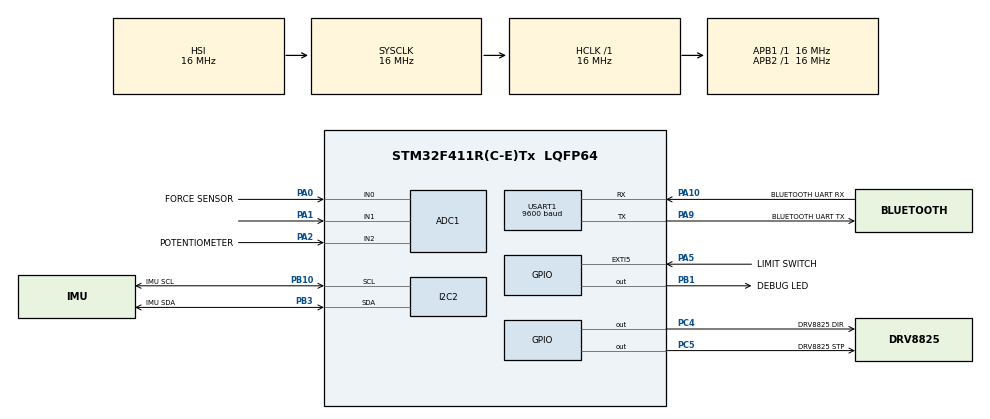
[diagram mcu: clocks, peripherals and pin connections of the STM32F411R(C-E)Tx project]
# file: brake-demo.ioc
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ADC1.Channel-0\#ChannelRegularConversion=ADC_CHANNEL_0
ADC1.Channel-1\#ChannelRegularConversion=ADC_CHANNEL_1
ADC1.Channel-4\#ChannelRegularConversion=ADC_CHANNEL_2
ADC1.ContinuousConvMode=DISABLE
ADC1.DMAContinuousRequests=ENABLE
ADC1.DiscontinuousConvMode=DISABLE
ADC1.ExternalTrigConv=ADC_EXTERNALTRIGCONV_T3_TRGO
ADC1.InjNumberOfConversion=0
ADC1.NbrOfConversion=3
ADC1.NbrOfConversionFlag=1
ADC1.Rank-0\#ChannelRegularConversion=1
ADC1.Rank-1\#ChannelRegularConversion=2
ADC1.Rank-4\#ChannelRegularConversion=3
ADC1.SamplingTime-0\#ChannelRegularConversion=ADC_SAMPLETIME_3CYCLES
ADC1.SamplingTime-1\#ChannelRegularConversion=ADC_SAMPLETIME_3CYCLES
ADC1.SamplingTime-4\#ChannelRegularConversion=ADC_SAMPLETIME_3CYCLES
ADC1.ScanConvMode=ENABLE
ADC1.master=1
Dma.ADC1.0.Direction=DMA_PERIPH_TO_MEMORY
Dma.ADC1.0.FIFOMode=DMA_FIFOMODE_DISABLE
Dma.ADC1.0.Instance=DMA2_Stream0
Dma.ADC1.0.MemDataAlignment=DMA_MDATAALIGN_HALFWORD
Dma.ADC1.0.MemInc=DMA_MINC_ENABLE
Dma.ADC1.0.Mode=DMA_CIRCULAR
Dma.ADC1.0.PeriphDataAlignment=DMA_PDATAALIGN_HALFWORD
Dma.ADC1.0.PeriphInc=DMA_PINC_DISABLE
Dma.ADC1.0.Priority=DMA_PRIORITY_LOW
Dma.Request0=ADC1
Mcu.Family=STM32F4
Mcu.Name=STM32F411R(C-E)Tx
Mcu.Package=LQFP64
Mcu.UserConstants=SLOW_PERIOD,2000;FAST_PERIOD,20
NVIC.DMA2_Stream0_IRQn=true\:0\:0\:false\:false\:true\:false\:true\:true
NVIC.EXTI9_5_IRQn=true\:0\:0\:false\:false\:true\:true\:true\:true
NVIC.PriorityGroup=NVIC_PRIORITYGROUP_4
NVIC.TIM1_TRG_COM_TIM11_IRQn=true\:0\:0\:false\:false\:true\:true\:true\:true
NVIC.TIM1_UP_TIM10_IRQn=true\:0\:0\:false\:false\:true\:true\:true\:true
PA0-WKUP.GPIO_Label=FORCE SENSOR
PA0-WKUP.Signal=ADCx_IN0
PA1.Signal=ADCx_IN1
PA10.GPIO_Label=BLUETOOTH UART RX
PA10.Mode=Asynchronous
PA10.Signal=USART1_RX
PA2.GPIO_Label=POTENTIOMETER
PA2.Signal=ADCx_IN2
PA5.GPIO_Label=LIMIT SWITCH
PA5.Signal=GPXTI5
PA9.GPIO_Label=BLUETOOTH UART TX
PA9.Mode=Asynchronous
PA9.Signal=USART1_TX
PB1.GPIO_Label=DEBUG LED
PB1.Signal=GPIO_Output
PB10.GPIO_Label=IMU SCL
PB10.Mode=I2C
PB10.Signal=I2C2_SCL
PB3.GPIO_Label=IMU SDA
PB3.Mode=I2C
PB3.Signal=I2C2_SDA
PC4.GPIO_Label=DRV8825 DIR
PC4.Signal=GPIO_Output
PC5.GPIO_Label=DRV8825 STP
PC5.Signal=GPIO_Output
ProjectManager.HeapSize=0x200
ProjectManager.StackSize=0x400
ProjectManager.TargetToolchain=STM32CubeIDE
RCC.AHBFreq_Value=16000000
RCC.APB1Freq_Value=16000000
RCC.APB2Freq_Value=16000000
RCC.CortexFreq_Value=16000000
RCC.HSE_VALUE=25000000
RCC.HSI_VALUE=16000000
RCC.LSE_VALUE=32768
RCC.SYSCLKFreq_VALUE=16000000
RCC.VCOOutputFreq_Value=192000000
SH.ADCx_IN0.0=ADC1_IN0,IN0
SH.ADCx_IN1.0=ADC1_IN1,IN1
SH.ADCx_IN2.0=ADC1_IN2,IN2
TIM10.Period=SLOW_PERIOD
TIM10.Prescaler=15
TIM11.Period=FAST_PERIOD
TIM11.Prescaler=15
TIM3.Period=16000-1
TIM3.TIM_MasterOutputTrigger=TIM_TRGO_UPDATE
USART1.BaudRate=9600
USART1.VirtualMode=VM_ASYNC
VP_TIM10_VS_ClockSourceINT.Mode=Enable_Timer
VP_TIM11_VS_ClockSourceINT.Mode=Enable_Timer
VP_TIM3_VS_ClockSourceINT.Mode=Internal
board=custom

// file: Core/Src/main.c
/* USER CODE BEGIN Header */
/**
  ******************************************************************************
  * @file           : main.c
  * @brief          : Main program body
  ******************************************************************************
  * @attention
  *
  * Copyright (c) 2022 STMicroelectronics.
  * All rights reserved.
  *
  * This software is licensed under terms that can be found in the LICENSE file
  * in the root directory of this software component.
  * If no LICENSE file comes with this software, it is provided AS-IS.
  *
  ******************************************************************************
  */
/* USER CODE END Header */
#include "main.h"

/* USER CODE BEGIN Includes */

#include "adc_sensor.h"
#include "brake_wireless.h"
#include "battery_sensor.h"
#include "force_sensor.h"
#include "imu.h"
#include "interrupt_timer.h"
#include "joint.h"
#include "motor.h"
#include "potentiometer.h"
#include "skater.h"
#include <stdbool.h>
#include <string.h>

/* USER CODE END Includes */

/* USER CODE BEGIN PD */

#define USE_POTENTIOMETER_FEEDBACK false
#define USE_FORCE_SENSOR false

/* USER CODE END PD */

ADC_HandleTypeDef hadc1;
DMA_HandleTypeDef hdma_adc1;

I2C_HandleTypeDef hi2c2;

TIM_HandleTypeDef htim3;
TIM_HandleTypeDef htim10;
TIM_HandleTypeDef htim11;

UART_HandleTypeDef huart1;

/* USER CODE BEGIN PV */

ADCSensor *adc_sensor = NULL;
BatterySensor *battery_sensor = NULL;
IMU *imu = NULL;
Motor *motor = NULL;
Potentiometer *potentiometer = NULL;
Joint *joint = NULL;
ForceSensor *force_sensor = NULL;
Skater *skater = NULL;
Wireless *wireless = NULL;
PinData* motor_direction_pin = NULL;
PinData* motor_step_pin = NULL;
InterruptTimer* slow_interrupt_timer = NULL;
InterruptTimer* fast_interrupt_timer = NULL;
InterruptTimer* adc_interrupt_timer = NULL;
bool send_message_flag = false;

/* USER CODE END PV */

void SystemClock_Config(void);
static void MX_GPIO_Init(void);
static void MX_DMA_Init(void);
static void MX_ADC1_Init(void);
static void MX_TIM10_Init(void);
static void MX_TIM11_Init(void);
static void MX_USART1_UART_Init(void);
static void MX_I2C2_Init(void);
static void MX_TIM3_Init(void);

/* USER CODE BEGIN 0 */

void HAL_ADC_ConvCpltCallback(ADC_HandleTypeDef *hadc1) {
	update_adc_sensor_values(adc_sensor);
}

void HAL_GPIO_EXTI_Callback(uint16_t GPIO_Pin) {
	// This is the limit switch callback function.
	// If the limit switch is hit, then the joint should be zeroed.
	if (GPIO_Pin == LIMIT_SWITCH_Pin) {
		zero_joint(joint);
	}
}

void HAL_TIM_PeriodElapsedCallback(TIM_HandleTypeDef *htim) {
	if (htim == fast_interrupt_timer->timer) {
		// 1 ms ->
//		HAL_GPIO_WritePin(DEBUG_LED_GPIO_Port, DEBUG_LED_Pin, GPIO_PIN_SET);
		move_joint_to_target(joint);
//		HAL_GPIO_WritePin(DEBUG_LED_GPIO_Port, DEBUG_LED_Pin, GPIO_PIN_RESET);
	}
	if (htim == slow_interrupt_timer->timer) {
		// 2 ms
		update_adc_sensor_values(adc_sensor);
		if (USE_FORCE_SENSOR) {
			refresh_skater_status(skater);
		}
		if (USE_POTENTIOMETER_FEEDBACK) {
			refresh_joint_angle(joint);
		}
		if (is_skater_gone(skater)) {
			set_joint_target(joint, AUTOMATIC_BRAKING_ANGLE_DEGREES);
		}
		else if (is_wireless_comms_lost(wireless)) {
			set_joint_target(joint, AUTOMATIC_RELAX_ANGLE_DEGREES);
		}

		refresh_wireless_status(wireless);
	}
}

/* USER CODE END 0 */

int main(void)
{
  /* USER CODE BEGIN 1 */

	adc_sensor = new_adc_sensor(&hadc1, 3);
	imu = new_imu_sensor(&hi2c2);
	motor_direction_pin = new_pin_data(DRV8825_DIR_GPIO_Port, DRV8825_DIR_Pin);
	motor_step_pin = new_pin_data(DRV8825_STP_GPIO_Port, DRV8825_STP_Pin);
	motor = new_motor(motor_direction_pin, motor_step_pin);
	slow_interrupt_timer = new_interrupt_timer(&htim10);
	fast_interrupt_timer = new_interrupt_timer(&htim11);
	adc_interrupt_timer = new_interrupt_timer(&htim3);
	potentiometer = new_potentiometer(adc_sensor, 2);
	joint = new_joint(motor, potentiometer);
	force_sensor = new_force_sensor(adc_sensor, 0);
	battery_sensor = new_battery_sensor(adc_sensor, 1);
	skater = new_skater(force_sensor);
	wireless = new_wireless(&huart1);

  /* USER CODE END 1 */

  /* MCU Configuration--------------------------------------------------------*/

  /* Reset of all peripherals, Initializes the Flash interface and the Systick. */
  HAL_Init();

  /* Configure the system clock */
  SystemClock_Config();

  /* Initialize all configured peripherals */
  MX_GPIO_Init();
  MX_DMA_Init();
  MX_ADC1_Init();
  MX_TIM10_Init();
  MX_TIM11_Init();
  MX_USART1_UART_Init();
  MX_I2C2_Init();
  MX_TIM3_Init();
  /* USER CODE BEGIN 2 */

  start_interrupt_timer(fast_interrupt_timer);
  start_interrupt_timer(slow_interrupt_timer);
  start_interrupt_timer(adc_interrupt_timer);

  init_adc_sensor(adc_sensor);

  /* USER CODE END 2 */

  /* Infinite loop */
  while (1)
  {

    /* USER CODE BEGIN 3 */

	  receive_wireless(wireless, skater, joint);

	  // TODO - this statement is in an if statement since we are afraid that it takes too much time
	  // and will decrease responsiveness. However, this may not actually be true
	  // It is worth testing to see if this is actually the case.
	  if (joint->desired_angle_degrees == joint->current_angle_degrees) {
		  int current_speed = (int)joint->current_angle_degrees; // TODO - get actual speed
		  send_wireless_speed(wireless, current_speed);

		  int battery_data = get_battery_sensor_data(battery_sensor);
		  send_wireless_battery_data(wireless, battery_data);  // TODO - get actual battery data

	  }
  }
  /* USER CODE END 3 */
}

void SystemClock_Config(void)
{
  RCC_OscInitTypeDef RCC_OscInitStruct = {0};
  RCC_ClkInitTypeDef RCC_ClkInitStruct = {0};

  /** Configure the main internal regulator output voltage
  */
  __HAL_RCC_PWR_CLK_ENABLE();
  __HAL_PWR_VOLTAGESCALING_CONFIG(PWR_REGULATOR_VOLTAGE_SCALE1);

  /** Initializes the RCC Oscillators according to the specified parameters
  * in the RCC_OscInitTypeDef structure.
  */
  RCC_OscInitStruct.OscillatorType = RCC_OSCILLATORTYPE_HSI;
  RCC_OscInitStruct.HSIState = RCC_HSI_ON;
  RCC_OscInitStruct.HSICalibrationValue = RCC_HSICALIBRATION_DEFAULT;
  RCC_OscInitStruct.PLL.PLLState = RCC_PLL_NONE;
  if (HAL_RCC_OscConfig(&RCC_OscInitStruct) != HAL_OK)
  {
    Error_Handler();
  }

  /** Initializes the CPU, AHB and APB buses clocks
  */
  RCC_ClkInitStruct.ClockType = RCC_CLOCKTYPE_HCLK|RCC_CLOCKTYPE_SYSCLK
                              |RCC_CLOCKTYPE_PCLK1|RCC_CLOCKTYPE_PCLK2;
  RCC_ClkInitStruct.SYSCLKSource = RCC_SYSCLKSOURCE_HSI;
  RCC_ClkInitStruct.AHBCLKDivider = RCC_SYSCLK_DIV1;
  RCC_ClkInitStruct.APB1CLKDivider = RCC_HCLK_DIV1;
  RCC_ClkInitStruct.APB2CLKDivider = RCC_HCLK_DIV1;

  if (HAL_RCC_ClockConfig(&RCC_ClkInitStruct, FLASH_LATENCY_0) != HAL_OK)
  {
    Error_Handler();
  }
}

static void MX_ADC1_Init(void)
{

  ADC_ChannelConfTypeDef sConfig = {0};

  /** Configure the global features of the ADC (Clock, Resolution, Data Alignment and number of conversion)
  */
  hadc1.Instance = ADC1;
  hadc1.Init.ClockPrescaler = ADC_CLOCK_SYNC_PCLK_DIV2;
  hadc1.Init.Resolution = ADC_RESOLUTION_12B;
  hadc1.Init.ScanConvMode = ENABLE;
  hadc1.Init.ContinuousConvMode = DISABLE;
  hadc1.Init.DiscontinuousConvMode = DISABLE;
  hadc1.Init.ExternalTrigConvEdge = ADC_EXTERNALTRIGCONVEDGE_RISING;
  hadc1.Init.ExternalTrigConv = ADC_EXTERNALTRIGCONV_T3_TRGO;
  hadc1.Init.DataAlign = ADC_DATAALIGN_RIGHT;
  hadc1.Init.NbrOfConversion = 3;
  hadc1.Init.DMAContinuousRequests = ENABLE;
  hadc1.Init.EOCSelection = ADC_EOC_SINGLE_CONV;
  if (HAL_ADC_Init(&hadc1) != HAL_OK)
  {
    Error_Handler();
  }

  /** Configure for the selected ADC regular channel its corresponding rank in the sequencer and its sample time.
  */
  sConfig.Channel = ADC_CHANNEL_0;
  sConfig.Rank = 1;
  sConfig.SamplingTime = ADC_SAMPLETIME_3CYCLES;
  if (HAL_ADC_ConfigChannel(&hadc1, &sConfig) != HAL_OK)
  {
    Error_Handler();
  }

  /** Configure for the selected ADC regular channel its corresponding rank in the sequencer and its sample time.
  */
  sConfig.Channel = ADC_CHANNEL_1;
  sConfig.Rank = 2;
  if (HAL_ADC_ConfigChannel(&hadc1, &sConfig) != HAL_OK)
  {
    Error_Handler();
  }

  /** Configure for the selected ADC regular channel its corresponding rank in the sequencer and its sample time.
  */
  sConfig.Channel = ADC_CHANNEL_2;
  sConfig.Rank = 3;
  if (HAL_ADC_ConfigChannel(&hadc1, &sConfig) != HAL_OK)
  {
    Error_Handler();
  }

}

static void MX_I2C2_Init(void)
{

  hi2c2.Instance = I2C2;
  hi2c2.Init.ClockSpeed = 100000;
  hi2c2.Init.DutyCycle = I2C_DUTYCYCLE_2;
  hi2c2.Init.OwnAddress1 = 0;
  hi2c2.Init.AddressingMode = I2C_ADDRESSINGMODE_7BIT;
  hi2c2.Init.DualAddressMode = I2C_DUALADDRESS_DISABLE;
  hi2c2.Init.OwnAddress2 = 0;
  hi2c2.Init.GeneralCallMode = I2C_GENERALCALL_DISABLE;
  hi2c2.Init.NoStretchMode = I2C_NOSTRETCH_DISABLE;
  if (HAL_I2C_Init(&hi2c2) != HAL_OK)
  {
    Error_Handler();
  }

}

static void MX_TIM3_Init(void)
{

  TIM_ClockConfigTypeDef sClockSourceConfig = {0};
  TIM_MasterConfigTypeDef sMasterConfig = {0};

  htim3.Instance = TIM3;
  htim3.Init.Prescaler = 0;
  htim3.Init.CounterMode = TIM_COUNTERMODE_UP;
  htim3.Init.Period = 16000-1;
  htim3.Init.ClockDivision = TIM_CLOCKDIVISION_DIV1;
  htim3.Init.AutoReloadPreload = TIM_AUTORELOAD_PRELOAD_DISABLE;
  if (HAL_TIM_Base_Init(&htim3) != HAL_OK)
  {
    Error_Handler();
  }
  sClockSourceConfig.ClockSource = TIM_CLOCKSOURCE_INTERNAL;
  if (HAL_TIM_ConfigClockSource(&htim3, &sClockSourceConfig) != HAL_OK)
  {
    Error_Handler();
  }
  sMasterConfig.MasterOutputTrigger = TIM_TRGO_UPDATE;
  sMasterConfig.MasterSlaveMode = TIM_MASTERSLAVEMODE_DISABLE;
  if (HAL_TIMEx_MasterConfigSynchronization(&htim3, &sMasterConfig) != HAL_OK)
  {
    Error_Handler();
  }

}

static void MX_TIM10_Init(void)
{

  htim10.Instance = TIM10;
  htim10.Init.Prescaler = 15;
  htim10.Init.CounterMode = TIM_COUNTERMODE_UP;
  htim10.Init.Period = SLOW_PERIOD;
  htim10.Init.ClockDivision = TIM_CLOCKDIVISION_DIV1;
  htim10.Init.AutoReloadPreload = TIM_AUTORELOAD_PRELOAD_DISABLE;
  if (HAL_TIM_Base_Init(&htim10) != HAL_OK)
  {
    Error_Handler();
  }

}

static void MX_TIM11_Init(void)
{

  htim11.Instance = TIM11;
  htim11.Init.Prescaler = 15;
  htim11.Init.CounterMode = TIM_COUNTERMODE_UP;
  htim11.Init.Period = FAST_PERIOD;
  htim11.Init.ClockDivision = TIM_CLOCKDIVISION_DIV1;
  htim11.Init.AutoReloadPreload = TIM_AUTORELOAD_PRELOAD_DISABLE;
  if (HAL_TIM_Base_Init(&htim11) != HAL_OK)
  {
    Error_Handler();
  }

}

static void MX_USART1_UART_Init(void)
{

  huart1.Instance = USART1;
  huart1.Init.BaudRate = 9600;
  huart1.Init.WordLength = UART_WORDLENGTH_8B;
  huart1.Init.StopBits = UART_STOPBITS_1;
  huart1.Init.Parity = UART_PARITY_NONE;
  huart1.Init.Mode = UART_MODE_TX_RX;
  huart1.Init.HwFlowCtl = UART_HWCONTROL_NONE;
  huart1.Init.OverSampling = UART_OVERSAMPLING_16;
  if (HAL_UART_Init(&huart1) != HAL_OK)
  {
    Error_Handler();
  }

}

static void MX_DMA_Init(void)
{

  /* DMA controller clock enable */
  __HAL_RCC_DMA2_CLK_ENABLE();

  /* DMA interrupt init */
  /* DMA2_Stream0_IRQn interrupt configuration */
  HAL_NVIC_SetPriority(DMA2_Stream0_IRQn, 0, 0);
  HAL_NVIC_EnableIRQ(DMA2_Stream0_IRQn);

}

static void MX_GPIO_Init(void)
{
  GPIO_InitTypeDef GPIO_InitStruct = {0};

  /* GPIO Ports Clock Enable */
  __HAL_RCC_GPIOA_CLK_ENABLE();
  __HAL_RCC_GPIOC_CLK_ENABLE();
  __HAL_RCC_GPIOB_CLK_ENABLE();

  /*Configure GPIO pin Output Level */
  HAL_GPIO_WritePin(GPIOC, DRV8825_DIR_Pin|DRV8825_STP_Pin, GPIO_PIN_RESET);

  /*Configure GPIO pin Output Level */
  HAL_GPIO_WritePin(DEBUG_LED_GPIO_Port, DEBUG_LED_Pin, GPIO_PIN_RESET);

  /*Configure GPIO pin : LIMIT_SWITCH_Pin */
  GPIO_InitStruct.Pin = LIMIT_SWITCH_Pin;
  GPIO_InitStruct.Mode = GPIO_MODE_IT_RISING;
  GPIO_InitStruct.Pull = GPIO_NOPULL;
  HAL_GPIO_Init(LIMIT_SWITCH_GPIO_Port, &GPIO_InitStruct);

  /*Configure GPIO pins : DRV8825_DIR_Pin DRV8825_STP_Pin */
  GPIO_InitStruct.Pin = DRV8825_DIR_Pin|DRV8825_STP_Pin;
  GPIO_InitStruct.Mode = GPIO_MODE_OUTPUT_PP;
  GPIO_InitStruct.Pull = GPIO_NOPULL;
  GPIO_InitStruct.Speed = GPIO_SPEED_FREQ_LOW;
  HAL_GPIO_Init(GPIOC, &GPIO_InitStruct);

  /*Configure GPIO pin : DEBUG_LED_Pin */
  GPIO_InitStruct.Pin = DEBUG_LED_Pin;
  GPIO_InitStruct.Mode = GPIO_MODE_OUTPUT_PP;
  GPIO_InitStruct.Pull = GPIO_NOPULL;
  GPIO_InitStruct.Speed = GPIO_SPEED_FREQ_LOW;
  HAL_GPIO_Init(DEBUG_LED_GPIO_Port, &GPIO_InitStruct);

  /* EXTI interrupt init*/
  HAL_NVIC_SetPriority(EXTI9_5_IRQn, 0, 0);
  HAL_NVIC_EnableIRQ(EXTI9_5_IRQn);

}

void Error_Handler(void)
{
  __disable_irq();
  while (1)
  {
  }
}
